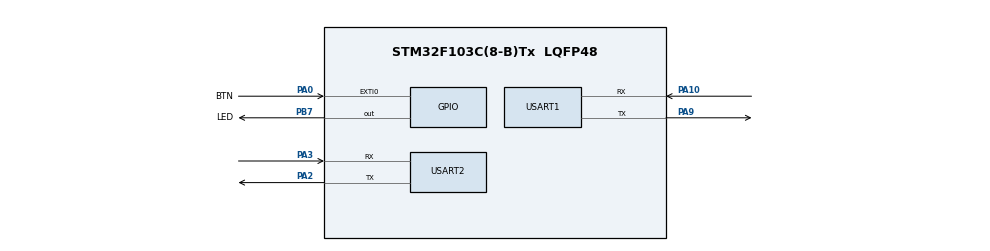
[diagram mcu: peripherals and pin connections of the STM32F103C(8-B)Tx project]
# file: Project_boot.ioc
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Mcu.Family=STM32F1
Mcu.Name=STM32F103C(8-B)Tx
Mcu.Package=LQFP48
NVIC.EXTI0_IRQn=true\:0\:0\:false\:false\:true\:true\:true\:true
NVIC.PriorityGroup=NVIC_PRIORITYGROUP_4
PA0-WKUP.GPIO_Label=BTN
PA0-WKUP.GPIO_ModeDefaultEXTI=GPIO_MODE_IT_RISING
PA0-WKUP.GPIO_PuPd=GPIO_PULLUP
PA0-WKUP.Signal=GPXTI0
PA10.Mode=Asynchronous
PA10.Signal=USART1_RX
PA13.Mode=Serial_Wire
PA13.Signal=SYS_JTMS-SWDIO
PA14.Mode=Serial_Wire
PA14.Signal=SYS_JTCK-SWCLK
PA2.Mode=Asynchronous
PA2.Signal=USART2_TX
PA3.Mode=Asynchronous
PA3.Signal=USART2_RX
PA9.Mode=Asynchronous
PA9.Signal=USART1_TX
PB7.GPIO_Label=LED
PB7.GPIO_ModeDefaultOutputPP=GPIO_MODE_OUTPUT_PP
PB7.GPIO_PuPd=GPIO_NOPULL
PB7.Signal=GPIO_Output
ProjectManager.HeapSize=0x200
ProjectManager.StackSize=0x400
ProjectManager.TargetToolchain=STM32CubeIDE
RCC.APB1Freq_Value=8000000
RCC.APB2Freq_Value=8000000
USART1.VirtualMode=VM_ASYNC
USART2.VirtualMode=VM_ASYNC
board=custom

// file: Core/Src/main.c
/* USER CODE BEGIN Header */
/**
  ******************************************************************************
  * @file           : main.c
  * @brief          : Main program body
  ******************************************************************************
  * @attention
  *
  * Copyright (c) 2026 STMicroelectronics.
  * All rights reserved.
  *
  * This software is licensed under terms that can be found in the LICENSE file
  * in the root directory of this software component.
  * If no LICENSE file comes with this software, it is provided AS-IS.
  *
  ******************************************************************************
  */
/* USER CODE END Header */
#include "main.h"

/* USER CODE BEGIN Includes */
#include "stdio.h"
/* USER CODE END Includes */

/* USER CODE BEGIN PTD */
typedef void (* pFunction)(void);
/* USER CODE END PTD */

/* USER CODE BEGIN PD */
#define BOOTLOADER_FLAG 0xDEADBEEF
#define DFU_DEFAULT_ADDRESS 0x8008000
#define FLASH_PAGE_SIZE 1024 // 1KB for Blue Pill

/* USER CODE END PD */

UART_HandleTypeDef huart1;
UART_HandleTypeDef huart2;

/* USER CODE BEGIN PV */
extern int _bflag;
uint32_t JumpAddress;
uint32_t *bootloader_flag;
pFunction JumpToApplication;
uint8_t only_wait = 1;
/* USER CODE END PV */

void SystemClock_Config(void);
static void MX_GPIO_Init(void);
static void MX_USART2_UART_Init(void);
static void MX_USART1_UART_Init(void);

/* USER CODE BEGIN 0 */
#ifdef __GNUC__
/* With GCC, small printf (option LD Linker->Libraries->Small printf
   set to 'Yes') calls __io_putchar() */
#define PUTCHAR_PROTOTYPE int __io_putchar(int ch)
#else
#define PUTCHAR_PROTOTYPE int fputc(int ch, FILE *f)
#endif /* __GNUC__ */

PUTCHAR_PROTOTYPE
{
  /* Place your implementation of fputc here */
  /* e.g. write a character to the USART1 and Loop until the end of transmission */
  //HAL_UART_Transmit(&huart1, (uint8_t *)&ch, 1, 10);
  HAL_UART_Transmit(&huart2, (uint8_t *)&ch, 1, 10);

  return ch;
}

void HAL_GPIO_EXTI_Callback(uint16_t GPIO_Pin){
	if(GPIO_Pin == BTN_Pin){
		HAL_NVIC_SystemReset();
	}
}

void BluePill_Fast_Flash(void) {
	uint8_t rx_buffer[256];
    uint32_t current_address = DFU_DEFAULT_ADDRESS;
    uint8_t ACK = 0x06;  // ASCII ACK

    //printf("Updating!!!");
    HAL_FLASH_Unlock();

    // 1. Erase Application Space
    FLASH_EraseInitTypeDef EraseInitStruct;

    uint32_t PageError;
    EraseInitStruct.TypeErase = FLASH_TYPEERASE_PAGES;
    EraseInitStruct.PageAddress = DFU_DEFAULT_ADDRESS;
    EraseInitStruct.NbPages = 32;
    if (HAL_FLASHEx_Erase(&EraseInitStruct, &PageError) != HAL_OK) {
        HAL_FLASH_Lock();
        return; // Erase failed
    }
    printf("Erased\n");
    // 2. Stream and Program
    // We receive 256 bytes, program them, then tell Python "Next!"
    while (HAL_UART_Receive(&huart1, rx_buffer, 256, 5000) == HAL_OK) {
    	printf("GOT DATA\n");
    	    for(int i = 0; i < 256; i += 2) {
    	    	uint16_t rx_data = (rx_buffer[i+1] << 8) | rx_buffer[i];
    	    	if (HAL_FLASH_Program(FLASH_TYPEPROGRAM_HALFWORD, current_address, rx_data) == HAL_OK) {
    	    		current_address += 2;
    	    	}
    	    	else{
    	    		HAL_FLASH_Lock();
    	    		HAL_NVIC_SystemReset();
    	    		return;
    	    	}
    	    }
    	    if(HAL_UART_Transmit(&huart1, &ACK, 1,10) == HAL_OK){
    	    	//printf("HI : %x\n",ACK);
    	    }

    }
    //printf("%x",current_address);

    HAL_FLASH_Lock();
    //printf("Done! Resetting...\n");
    HAL_Delay(100);
    only_wait = 0;
    HAL_NVIC_SystemReset();
}
/* USER CODE END 0 */

int main(void)
{

  /* MCU Configuration--------------------------------------------------------*/

  /* Reset of all peripherals, Initializes the Flash interface and the Systick. */
  HAL_Init();

  /* Configure the system clock */
  SystemClock_Config();

  /* Initialize all configured peripherals */
  MX_GPIO_Init();
  MX_USART2_UART_Init();
  MX_USART1_UART_Init();
  /* USER CODE BEGIN 2 */

  bootloader_flag = (uint32_t *)(& _bflag);
  //printf("amhere0\n");
  	if(*bootloader_flag != BOOTLOADER_FLAG){
  		printf("%lx",*(__IO uint32_t *)(DFU_DEFAULT_ADDRESS));
  		if(((*(__IO uint32_t *)DFU_DEFAULT_ADDRESS) & 0x2FFF0000) == 0X20000000){
  			//printf("amhere2\n");
  			JumpAddress = *(__IO uint32_t *)(DFU_DEFAULT_ADDRESS + 4);
  			JumpToApplication = (pFunction)(JumpAddress);
  			__set_MSP(*(__IO uint32_t *)(DFU_DEFAULT_ADDRESS));
  			JumpToApplication();
  		}
  	}
  	*bootloader_flag = 0;
  printf("\r\n\r\n Bootloader Starting \r\n\r\n");
  if(only_wait){
	  BluePill_Fast_Flash();
  }
  printf("Wait over");

  /* USER CODE END 2 */

  /* Infinite loop */
  /* USER CODE BEGIN WHILE */
  uint32_t now = 0, next_tick = 1000, next_blink = 500;
  while (1)
  {
	  now = uwTick;
	  if(now >= next_blink){
		  HAL_GPIO_TogglePin(LED_GPIO_Port, LED_Pin);
		  next_blink += 500;
	  }
	  if(now >= next_tick){
  		  printf("Tick %lu \r\n", now/1000);
		  next_tick += 1000;
	  }
    /* USER CODE END WHILE */

  }
}

void SystemClock_Config(void)
{
  RCC_OscInitTypeDef RCC_OscInitStruct = {0};
  RCC_ClkInitTypeDef RCC_ClkInitStruct = {0};

  /** Initializes the RCC Oscillators according to the specified parameters
  * in the RCC_OscInitTypeDef structure.
  */
  RCC_OscInitStruct.OscillatorType = RCC_OSCILLATORTYPE_HSI;
  RCC_OscInitStruct.HSIState = RCC_HSI_ON;
  RCC_OscInitStruct.HSICalibrationValue = RCC_HSICALIBRATION_DEFAULT;
  RCC_OscInitStruct.PLL.PLLState = RCC_PLL_NONE;
  if (HAL_RCC_OscConfig(&RCC_OscInitStruct) != HAL_OK)
  {
    Error_Handler();
  }

  /** Initializes the CPU, AHB and APB buses clocks
  */
  RCC_ClkInitStruct.ClockType = RCC_CLOCKTYPE_HCLK|RCC_CLOCKTYPE_SYSCLK
                              |RCC_CLOCKTYPE_PCLK1|RCC_CLOCKTYPE_PCLK2;
  RCC_ClkInitStruct.SYSCLKSource = RCC_SYSCLKSOURCE_HSI;
  RCC_ClkInitStruct.AHBCLKDivider = RCC_SYSCLK_DIV1;
  RCC_ClkInitStruct.APB1CLKDivider = RCC_HCLK_DIV1;
  RCC_ClkInitStruct.APB2CLKDivider = RCC_HCLK_DIV1;

  if (HAL_RCC_ClockConfig(&RCC_ClkInitStruct, FLASH_LATENCY_0) != HAL_OK)
  {
    Error_Handler();
  }
}

static void MX_USART1_UART_Init(void)
{

  huart1.Instance = USART1;
  huart1.Init.BaudRate = 115200;
  huart1.Init.WordLength = UART_WORDLENGTH_8B;
  huart1.Init.StopBits = UART_STOPBITS_1;
  huart1.Init.Parity = UART_PARITY_NONE;
  huart1.Init.Mode = UART_MODE_TX_RX;
  huart1.Init.HwFlowCtl = UART_HWCONTROL_NONE;
  huart1.Init.OverSampling = UART_OVERSAMPLING_16;
  if (HAL_UART_Init(&huart1) != HAL_OK)
  {
    Error_Handler();
  }

}

static void MX_USART2_UART_Init(void)
{

  huart2.Instance = USART2;
  huart2.Init.BaudRate = 115200;
  huart2.Init.WordLength = UART_WORDLENGTH_8B;
  huart2.Init.StopBits = UART_STOPBITS_1;
  huart2.Init.Parity = UART_PARITY_NONE;
  huart2.Init.Mode = UART_MODE_TX_RX;
  huart2.Init.HwFlowCtl = UART_HWCONTROL_NONE;
  huart2.Init.OverSampling = UART_OVERSAMPLING_16;
  if (HAL_UART_Init(&huart2) != HAL_OK)
  {
    Error_Handler();
  }

}

static void MX_GPIO_Init(void)
{
  GPIO_InitTypeDef GPIO_InitStruct = {0};

  /* GPIO Ports Clock Enable */
  __HAL_RCC_GPIOA_CLK_ENABLE();
  __HAL_RCC_GPIOB_CLK_ENABLE();

  /*Configure GPIO pin Output Level */
  HAL_GPIO_WritePin(LED_GPIO_Port, LED_Pin, GPIO_PIN_RESET);

  /*Configure GPIO pin : BTN_Pin */
  GPIO_InitStruct.Pin = BTN_Pin;
  GPIO_InitStruct.Mode = GPIO_MODE_IT_RISING;
  GPIO_InitStruct.Pull = GPIO_PULLUP;
  HAL_GPIO_Init(BTN_GPIO_Port, &GPIO_InitStruct);

  /*Configure GPIO pin : LED_Pin */
  GPIO_InitStruct.Pin = LED_Pin;
  GPIO_InitStruct.Mode = GPIO_MODE_OUTPUT_PP;
  GPIO_InitStruct.Pull = GPIO_NOPULL;
  GPIO_InitStruct.Speed = GPIO_SPEED_FREQ_LOW;
  HAL_GPIO_Init(LED_GPIO_Port, &GPIO_InitStruct);

  /* EXTI interrupt init*/
  HAL_NVIC_SetPriority(EXTI0_IRQn, 0, 0);
  HAL_NVIC_EnableIRQ(EXTI0_IRQn);

}

void Error_Handler(void)
{
  __disable_irq();
  while (1)
  {
  }
}
